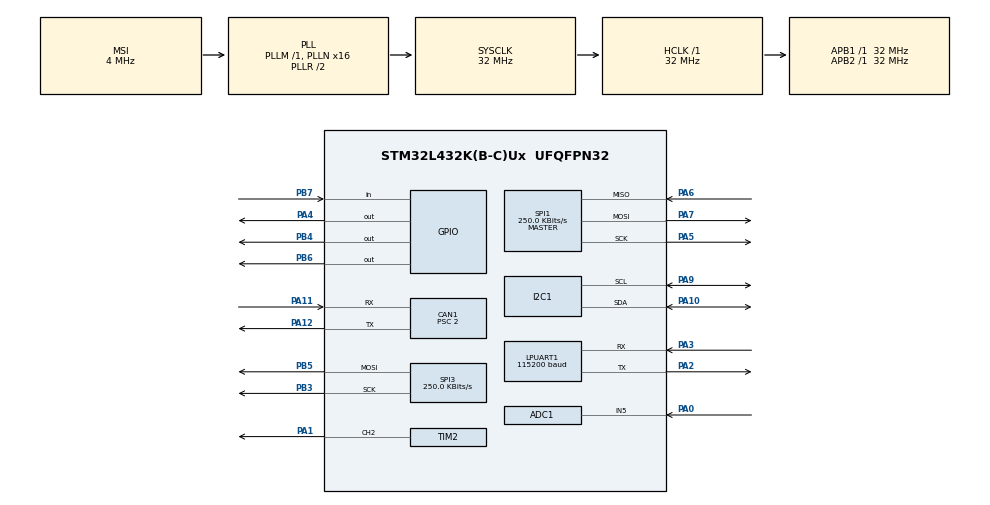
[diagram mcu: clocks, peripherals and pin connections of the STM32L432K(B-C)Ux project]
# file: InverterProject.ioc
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ADC1.Channel-1\#ChannelRegularConversion=ADC_CHANNEL_5
ADC1.NbrOfConversionFlag=1
ADC1.OffsetNumber-1\#ChannelRegularConversion=ADC_OFFSET_NONE
ADC1.Rank-1\#ChannelRegularConversion=1
ADC1.SamplingTime-1\#ChannelRegularConversion=ADC_SAMPLETIME_2CYCLES_5
ADC1.master=1
CAN1.BS1=CAN_BS1_12TQ
CAN1.BS2=CAN_BS2_3TQ
CAN1.CalculateBaudRate=1000000
CAN1.CalculateTimeBit=1000
CAN1.CalculateTimeQuantum=62.5
CAN1.Prescaler=2
FATFS._MAX_SS=4096
FATFS._USE_LFN=3
FREERTOS.Tasks01=defaultTask,0,128,StartDefaultTask,Default,NULL,Dynamic,NULL,NULL
FREERTOS.configTOTAL_HEAP_SIZE=16384
I2C1.Timing=0x00B07CB4
LPUART1.BaudRate=115200
LPUART1.WordLength=UART_WORDLENGTH_8B
Mcu.Family=STM32L4
Mcu.Name=STM32L432K(B-C)Ux
Mcu.Package=UFQFPN32
NUCLEO-L432KC.LD3=false
NVIC.CAN1_RX0_IRQn=true\:5\:0\:false\:false\:true\:true\:true\:true\:true
NVIC.PriorityGroup=NVIC_PRIORITYGROUP_4
NVIC.TIM1_UP_TIM16_IRQn=true\:15\:0\:false\:false\:true\:false\:false\:true\:true
NVIC.TimeBase=TIM1_UP_TIM16_IRQn
NVIC.TimeBaseIP=TIM1
PA0.Signal=ADCx_IN5
PA1.Signal=S_TIM2_CH2
PA10.Mode=I2C
PA10.Signal=I2C1_SDA
PA11.Mode=CAN_Activate
PA11.Signal=CAN1_RX
PA12.Mode=CAN_Activate
PA12.Signal=CAN1_TX
PA13\ (JTMS-SWDIO).GPIO_Label=SWDIO
PA13\ (JTMS-SWDIO).Signal=SYS_JTMS-SWDIO
PA14\ (JTCK-SWCLK).GPIO_Label=SWCLK
PA14\ (JTCK-SWCLK).Signal=SYS_JTCK-SWCLK
PA15\ (JTDI).GPIO_Label=VCP_RX
PA15\ (JTDI).Signal=USART2_RX
PA2.Mode=Asynchronous
PA2.Signal=LPUART1_TX
PA3.Mode=Asynchronous
PA3.Signal=LPUART1_RX
PA4.Signal=GPIO_Output
PA5.Mode=Full_Duplex_Master
PA5.Signal=SPI1_SCK
PA6.Mode=Full_Duplex_Master
PA6.Signal=SPI1_MISO
PA7.Mode=Full_Duplex_Master
PA7.Signal=SPI1_MOSI
PA9.Mode=I2C
PA9.Signal=I2C1_SCL
PB3\ (JTDO-TRACESWO).Mode=TX_Only_Simplex_Unidirect_Master
PB3\ (JTDO-TRACESWO).Signal=SPI3_SCK
PB4\ (NJTRST).Signal=GPIO_Output
PB5.Mode=TX_Only_Simplex_Unidirect_Master
PB5.Signal=SPI3_MOSI
PB6.Signal=GPIO_Output
PB7.Signal=GPIO_Input
PC14-OSC32_IN\ (PC14).Signal=RCC_OSC32_IN
PC15-OSC32_OUT\ (PC15).Signal=RCC_OSC32_OUT
ProjectManager.HeapSize=0x200
ProjectManager.StackSize=0x400
ProjectManager.TargetToolchain=Makefile
RCC.ADCFreq_Value=32000000
RCC.AHBFreq_Value=32000000
RCC.APB1Freq_Value=32000000
RCC.APB1TimFreq_Value=32000000
RCC.APB2Freq_Value=32000000
RCC.APB2TimFreq_Value=32000000
RCC.CortexFreq_Value=32000000
RCC.HCLKFreq_Value=32000000
RCC.HSE_VALUE=8000000
RCC.HSI16_VALUE=16000000
RCC.HSI48_VALUE=48000000
RCC.HSI_VALUE=16000000
RCC.LSE_VALUE=32768
RCC.MSI_VALUE=4000000
RCC.PLLMUL=RCC_PLLMUL_4
RCC.PLLN=16
RCC.PLLSAI1N=16
RCC.SYSCLKFreq_VALUE=32000000
RCC.SYSCLKSource=RCC_SYSCLKSOURCE_PLLCLK
RCC.USBFreq_Value=32000000
RCC.VCOOutputFreq_Value=64000000
SH.ADCx_IN5.0=ADC1_IN5,IN5-Single-Ended
SH.S_TIM2_CH2.0=TIM2_CH2,PWM Generation2 CH2
SPI1.BaudRatePrescaler=SPI_BAUDRATEPRESCALER_128
SPI1.CalculateBaudRate=250.0 KBits/s
SPI1.DataSize=SPI_DATASIZE_8BIT
SPI1.Direction=SPI_DIRECTION_2LINES
SPI1.Mode=SPI_MODE_MASTER
SPI1.VirtualType=VM_MASTER
SPI3.BaudRatePrescaler=SPI_BAUDRATEPRESCALER_128
SPI3.CLKPhase=SPI_PHASE_2EDGE
SPI3.CLKPolarity=SPI_POLARITY_HIGH
SPI3.CalculateBaudRate=250.0 KBits/s
SPI3.DataSize=SPI_DATASIZE_8BIT
SPI3.Direction=SPI_DIRECTION_2LINES
SPI3.Mode=SPI_MODE_MASTER
SPI3.VirtualType=VM_MASTER
TIM2.Channel-PWM\ Generation2\ CH2=TIM_CHANNEL_2
VP_FATFS_VS_Generic.Mode=User_defined
VP_FREERTOS_VS_CMSIS_V1.Mode=CMSIS_V1
VP_NUCLEO-L432KC_VS_BSP_COMMON.Mode=COMMON
VP_SYS_VS_tim1.Mode=TIM1
board=NUCLEO-L432KC

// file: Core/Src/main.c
/* USER CODE BEGIN Header */
/**
  ******************************************************************************
  * @file           : main.c
  * @brief          : Main program body
  ******************************************************************************
  * @attention
  *
  * Copyright (c) 2026 STMicroelectronics.
  * All rights reserved.
  *
  * This software is licensed under terms that can be found in the LICENSE file
  * in the root directory of this software component.
  * If no LICENSE file comes with this software, it is provided AS-IS.
  *
  ******************************************************************************
  */
/* USER CODE END Header */
#include "main.h"
#include "cmsis_os.h"
#include "fatfs.h"

/* USER CODE BEGIN Includes */
#include <stdio.h>
#include <string.h>
#include "FATFS_SD.h"
#include "LCD.h"
#include "CAN.h"
#include "stdio.h"
#include "FreeRTOS.h"
#include "queue.h"

/* USER CODE END Includes */

ADC_HandleTypeDef hadc1;

CAN_HandleTypeDef hcan1;

I2C_HandleTypeDef hi2c1;

UART_HandleTypeDef hlpuart1;

SPI_HandleTypeDef hspi1;
SPI_HandleTypeDef hspi3;

TIM_HandleTypeDef htim2;

osThreadId defaultTaskHandle;

void SystemClock_Config(void);
static void MX_GPIO_Init(void);
static void MX_CAN1_Init(void);
static void MX_SPI1_Init(void);
static void MX_ADC1_Init(void);
static void MX_LPUART1_UART_Init(void);
static void MX_TIM2_Init(void);
static void MX_SPI3_Init(void);
static void MX_I2C1_Init(void);
void StartDefaultTask(void const * argument);

/* USER CODE BEGIN PFP */

static void SD_Card_Test(void);
extern volatile uint16_t Timer1, Timer2;

uint8_t Buffer[25] = {0};
uint8_t Space[] = " - ";
uint8_t StartMSG[] = "Starting I2C Scanning: \r\n";
uint8_t EndMSG[] = "Done! \r\n\r\n";

/* USER CODE END PFP */

/* USER CODE BEGIN 0 */

TaskHandle_t StartSdTask = NULL;
TaskHandle_t LCD_Task = NULL;
TaskHandle_t ThrottleCanTask = NULL;
static QueueHandle_t canDisplayQueue = NULL;
static QueueHandle_t canLogQueue = NULL;

static void vLCD_Task(void *pvParameters)
{
  (void)pvParameters;
  static LCD_Handle lcd;
  CAN_Message message;

  LCD_Init(&lcd, &hspi3, GPIOB, GPIO_PIN_4, GPIOB, GPIO_PIN_6);
  LCD_DisplaySpeed(&lcd, 0.0f, false);

  for (;;)
  {
    if (xQueueReceive(canDisplayQueue, &message, portMAX_DELAY) == pdPASS)
    {
      uint64_t rawData = CAN_Message_ToU64(&message);
      bool hasFix = extract_bits(rawData, 0, 1) != 0;
      float speedMph = (float)decode_physical_value(
          rawData, 1, 20, 0, SPEED_SCALE);
      LCD_DisplaySpeed(&lcd, speedMph, hasFix);
    }
  }
}

static void vCAN_RxTask(void *pvParameters)
{
  (void)pvParameters;
  CAN_Comm_SetRxTask(xTaskGetCurrentTaskHandle());
  //printf("CAN RX task started\r\n");
  for (;;)
  {
    //printf("Starting CAN RX task!\n");
    CAN_Message message;
    while (CAN_Comm_Pop(&message))
    {
      /* Keep the receiver draining promptly; the LCD only needs GPS speed. */
      //printf("CAN RX PARSING MESSAGE\n");
      if (!message.is_extended && message.id == 0x007u && message.dlc >= 3)
      {
        xQueueOverwrite(canDisplayQueue, &message);
      }
      handle_message(&message);
      /* The raw CAN_Message is also the record to pass to a future SD logger. */
    }

    ulTaskNotifyTake(pdTRUE, portMAX_DELAY);
  }
}

static void vThrottleCanTask(void *pvParameters)
{
  (void)pvParameters;
  printf("Throttle CAN task started\r\n");

  for (;;)
  {
    printf("Throttle CAN task running\r\n");
    uint8_t throttle_percent;
    HAL_StatusTypeDef status =
        Read_ADC_Throttle_Percent(&hadc1, &throttle_percent);
        printf("Throttle ADC read: %u%%\r\n", throttle_percent);
    if (status == HAL_OK)
    {
      status = CAN_Comm_Send(&hcan1, THROTTLE_CAN_ID, false,
                             &throttle_percent, 1);
      printf("Throttle CAN task sent: %u%%\r\n", throttle_percent);
    }

    if (status != HAL_OK)
    {
      printf("Throttle CAN task failed: %d\r\n", (int)status);
    }

    vTaskDelay(pdMS_TO_TICKS(THROTTLE_CAN_PERIOD_MS));
  }
}
TaskHandle_t CAN_Task_Handle = NULL;

// void vStartSdTask(void *pvparameters)
// {
//   printf("SD task started\r\n");

//   SD_Card_Test();          /* one-shot test for now */
//     // printf("SD task high water mark: %lu\r\n", uxTaskGetStackHighWaterMark(NULL));

//   for (;;)
//   {
//     osDelay(1000);         /* idle once the test is done */
//   }
// }

// void vLCD_Task(void *pvparameters)
// {
//   printf("LCD task started\r\n");
//   // LCD_Handle lcd;
//   // LCD_Init(&lcd, &hspi3, GPIOB, GPIO_PIN_4, GPIOB, GPIO_PIN_6);
//   // LCD_Clear(&lcd);
//   // osDelay(100);
//   // LCD_Clear(&lcd);
//   // LCD_PrintStrAt(&lcd, 0,0, "Hello FREDDY :)1");
//   printf("LCD WRITES\r\n");
//   // osDelay(500);
//   // LCD_PrintStrAt(&lcd,0,2, "speed:");
//   // I2C_LCD_Init();
//   // // I2C_LCD_CreateCustomChar(MyI2C_LCD, 0, HeartChar);
//   // // I2C_LCD_CreateCustomChar(MyI2C_LCD, 1, SmileyFaceChar);
//   // I2C_LCD_SetCursor( 0, 0);
//   // I2C_LCD_WriteString( "Hello world");
//   // I2C_LCD_SetCursor( 0, 1);
//   // I2C_LCD_WriteString( "I2C LCD ");
//   // I2C_LCD_PrintCustomChar(MyI2C_LCD, 1);
//   // I2C_LCD_PrintCustomChar(MyI2C_LCD, 0);
//   I2C_LCD_Init(MyI2C_LCD);
//   I2C_LCD_SetCursor(MyI2C_LCD, 0, 0);
//   I2C_LCD_WriteString(MyI2C_LCD, "DeepBlueMbedded");
//   I2C_LCD_SetCursor(MyI2C_LCD, 0, 1);
//   I2C_LCD_WriteString(MyI2C_LCD, "I2C LCD ");

//     printf("LCD WRITES\r\n");

//   vTaskDelete(NULL);
// }

static TaskHandle_t canRxHandle = NULL;
static TaskHandle_t throttleTxHandle = NULL;

#define SD_LOG_SYNC_ROWS 16U
#define SD_LOG_SYNC_INTERVAL_MS 1000U

static void vSdLoggerTask(void *pvParameters)
{
  (void)pvParameters;
  static FIL logFile;
  char logPath[sizeof(USERPath) + sizeof("CANLOG.CSV")];
  char row[CAN_LOG_ROW_SIZE + 2];
  FRESULT result;
  int pathLength;

  pathLength = snprintf(logPath, sizeof(logPath), "%sCANLOG.CSV", USERPath);
  if (pathLength < 0 || pathLength >= (int)sizeof(logPath))
  {
    printf("SD logger: CSV path is too long\r\n");
    vTaskDelete(NULL);
    return;
  }

  for (;;)
  {
    result = f_mount(&USERFatFS, USERPath, 1);
    if (result == FR_OK)
    {
      printf("SD logger: card mounted\r\n");
      break;
    }

    printf("SD logger: mount failed (%d), retrying\r\n", (int)result);
    vTaskDelay(pdMS_TO_TICKS(1000));
  }

  for (;;)
  {
    result = f_open(&logFile, logPath, FA_OPEN_APPEND | FA_WRITE);
    if (result == FR_OK)
    {
      break;
    }

    printf("SD logger: opening %s failed (%d), retrying\r\n",
           logPath, (int)result);
    vTaskDelay(pdMS_TO_TICKS(1000));
  }

  if (f_size(&logFile) == 0)
  {
    const char header[] = CAN_LOG_CSV_HEADER;
    UINT bytesWritten = 0;
    result = f_write(&logFile, header, sizeof(header) - 1, &bytesWritten);
    if (result != FR_OK || bytesWritten != sizeof(header) - 1)
    {
      printf("SD logger: writing CSV header failed (%d, %u bytes)\r\n",
             (int)result, (unsigned)bytesWritten);
      f_close(&logFile);
      vTaskDelete(NULL);
      return;
    }

    result = f_sync(&logFile);
    if (result != FR_OK)
    {
      printf("SD logger: syncing CSV header failed (%d)\r\n", (int)result);
      f_close(&logFile);
      vTaskDelete(NULL);
      return;
    }
  }

  uint32_t rowsSinceSync = 0;
  TickType_t lastSync = xTaskGetTickCount();

  for (;;)
  {
    if (CAN_Comm_ReadLogRow(row, pdMS_TO_TICKS(100)))
    {
      size_t rowLength = strlen(row);
      row[rowLength] = '\r';
      row[rowLength + 1] = '\n';
      UINT writeLength = (UINT)(rowLength + 2);
      UINT bytesWritten = 0;
      result = f_write(&logFile, row, writeLength, &bytesWritten);
      if (result != FR_OK || bytesWritten != writeLength)
      {
        printf("SD logger: writing CSV row failed (%d, %u/%u bytes)\r\n",
               (int)result, (unsigned)bytesWritten, (unsigned)writeLength);
        f_close(&logFile);
        vTaskDelete(NULL);
        return;
      }

      rowsSinceSync++;
    }

    TickType_t now = xTaskGetTickCount();
    if (rowsSinceSync >= SD_LOG_SYNC_ROWS ||
        (rowsSinceSync > 0 &&
         now - lastSync >= pdMS_TO_TICKS(SD_LOG_SYNC_INTERVAL_MS)))
    {
      result = f_sync(&logFile);
      if (result != FR_OK)
      {
        printf("SD logger: syncing CSV failed (%d)\r\n", (int)result);
        f_close(&logFile);
        vTaskDelete(NULL);
        return;
      }

      rowsSinceSync = 0;
      lastSync = now;
    }
  }
}

static void PrintCanFrame(const CAN_Message *msg)
{
    printf("RX %c ID=0x%0*lX DLC=%u DATA=",
           msg->is_extended ? 'E' : 'S',
           msg->is_extended ? 8 : 3,
           (unsigned long)msg->id, (unsigned)msg->dlc);

    for (uint8_t i = 0; i < msg->dlc; i++)
    {
        printf("%02X%s", (unsigned)msg->data[i],
               (i + 1u < msg->dlc) ? " " : "");
    }

    printf("\r\n");
}

static void CanRxTask(void *arg)
{
  printf("CAN RX task started\n");
    (void)arg;
    CAN_Message msg;
    for (;;)
    {
        printf("RX handling message\n");
        ulTaskNotifyTake(pdTRUE, portMAX_DELAY);   /* sleep until ISR wakes us */

        while (CAN_Comm_Pop(&msg))
        {
            PrintCanFrame(&msg);  /* Temporary raw-frame diagnostic */
            handle_message(&msg);
        }
    }
}

static void SD_Card_Test(void)
{
  printf("\r\n------------------[ SD Card Test ]--------------------\r\n");
  static FATFS FatFs;
  static FIL Fil;
  FRESULT FR_Status;
  FATFS *FS_Ptr;
  UINT RWC, WWC; // Read/Write Word Counter
  DWORD FreeClusters;
  uint32_t TotalSize, FreeSpace;
  char RW_Buffer[200];
    printf("0BEFORE DO LOOP \r\n");

  do
  {
    printf("INSIDE DO LOOP..\r\n");
    //------------------[ Mount The SD Card ]--------------------
    FR_Status = f_mount(&FatFs, "", 1);
    if (FR_Status != FR_OK)
    {
      printf("1Error! While Mounting SD Card, Error Code: (%i)\r\n", FR_Status);

      break;
    }
    printf("SD Card Mounted Successfully! \r\n\n");

    //------------------[ Get & Print The SD Card Size & Free Space ]--------------------
    f_getfree("", &FreeClusters, &FS_Ptr);
    TotalSize = (uint32_t)((FS_Ptr->n_fatent - 2) * FS_Ptr->csize * 0.5);
    FreeSpace = (uint32_t)(FreeClusters * FS_Ptr->csize * 0.5);
    printf("1Total SD Card Size: %lu Bytes\r\n", TotalSize);
    printf("1Free SD Card Space: %lu Bytes\r\n\n", FreeSpace);
    //------------------[ Open A Text File For Write & Write Data ]--------------------
    //Open the file
    FR_Status = f_open(&Fil, "TextFileWrite1.txt", FA_WRITE | FA_READ | FA_CREATE_ALWAYS);
    if(FR_Status != FR_OK)
    {

      printf("1Error! While Creating/Opening A New Text File, Error Code: (%i)\r\n", FR_Status);

      break;
    }
    printf("Text File Created & Opened! Writing Data To The Text File..\r\n\n");
    // (1) Write Data To The Text File [ Using f_puts() Function ]
    f_puts("1.2 Hello! From STM32 To SD Card Over SPI, Using f_puts()\n", &Fil);
    // (2) Write Data To The Text File [ Using f_write() Function ]
    strcpy(RW_Buffer, "Hello! From STM32 To SD Card Over SPI, Using f_write()\r\n");
    f_write(&Fil, RW_Buffer, strlen(RW_Buffer), &WWC);
    // Close The File
    f_close(&Fil);
    //------------------[ Open A Text File For Read & Read Its Data ]--------------------
    // Open The File
    FR_Status = f_open(&Fil, "TextFileWrite1.txt", FA_READ);
    if(FR_Status != FR_OK)
    {
      printf("1Error! While Opening (TextFileWrite.txt) File For Read.. \r\n");
      break;
    }
    // (1) Read The Text File's Data [ Using f_gets() Function ]
    f_gets(RW_Buffer, sizeof(RW_Buffer), &Fil);
    printf("1Data Read From (TextFileWrite.txt) Using f_gets():%s", RW_Buffer);
    // (2) Read The Text File's Data [ Using f_read() Function ]
    f_read(&Fil, RW_Buffer, f_size(&Fil), &RWC);

    printf("1Data Read From (TextFileWrite.txt) Using f_read():%s", RW_Buffer);

    // Close The File
    f_close(&Fil);

    printf("1File Closed! \r\n\n");

    //------------------[ Open An Existing Text File, Update Its Content, Read It Back ]--------------------
    // (1) Open The Existing File For Write (Update)
    FR_Status = f_open(&Fil, "TextFileWrite1.txt", FA_OPEN_EXISTING | FA_WRITE);
    FR_Status = f_lseek(&Fil, f_size(&Fil)); // Move The File Pointer To The EOF (End-Of-File)
    if(FR_Status != FR_OK)
    {
      printf("1Error! While Opening (TextFileWrite.txt) File For Update.. \r\n");
      break;
    }
    // (2) Write New Line of Text Data To The File
    FR_Status = f_puts("1.2 This New Line Was Added During Update!\r\n", &Fil);
    f_close(&Fil);
    memset(RW_Buffer,'\0',sizeof(RW_Buffer)); // Clear The Buffer
    // (3) Read The Contents of The Text File After The Update
    FR_Status = f_open(&Fil, "TextFileWrite1.txt", FA_READ); // Open The File For Read
    f_read(&Fil, RW_Buffer, f_size(&Fil), &RWC);
    printf("1Data Read From (TextFileWrite.txt) After Update:%s", RW_Buffer);
    f_close(&Fil);
    //------------------[ Delete The Text File ]--------------------
    // Delete The File
    /*
    FR_Status = f_unlink(TextFileWrite.txt);
    if (FR_Status != FR_OK){
        printf(TxBuffer, "Error! While Deleting The (TextFileWrite.txt) File.. \r\n");
        printf(TxBuffer);
    }
    */
  } while(0);
  //------------------[ Test Complete! Unmount The SD Card ]--------------------
  FR_Status = f_mount(NULL, "", 0);
  if (FR_Status != FR_OK)
  {
      printf("1Error! While Un-mounting SD Card, Error Code: (%i)\r\n", FR_Status);
  } else{
      printf("1SD Card Un-mounted Successfully! \r\n");
  }
}

/* USER CODE END 0 */

int main(void)
{

  /* MCU Configuration--------------------------------------------------------*/

  /* Reset of all peripherals, Initializes the Flash interface and the Systick. */
  HAL_Init();

  /* Configure the system clock */
  SystemClock_Config();

  /* Initialize all configured peripherals */
  MX_GPIO_Init();
  MX_CAN1_Init();
  MX_SPI1_Init();
  MX_FATFS_Init();
  MX_ADC1_Init();
  MX_LPUART1_UART_Init();
  MX_TIM2_Init();
  MX_SPI3_Init();
  MX_I2C1_Init();
  /* USER CODE BEGIN 2 */
  printf("HELLO THERE!\r\n");
  canLogQueue = xQueueCreate(CAN_LOG_QUEUE_LENGTH, CAN_LOG_ROW_SIZE);
  if (canLogQueue == NULL)
  {
    printf("CAN log queue creation failed, free heap = %u\r\n",
           (unsigned)xPortGetFreeHeapSize());
    Error_Handler();
  }
  CAN_Comm_SetLogQueue(canLogQueue);
  canDisplayQueue = xQueueCreate(1, sizeof(CAN_Message));
  if (canDisplayQueue == NULL)
  {
    printf("CAN display queue creation failed, free heap = %u\r\n",
           (unsigned)xPortGetFreeHeapSize());
    Error_Handler();
  }

  // LCD_PrintStrAt(&lcd,0,2, "speed:");
  // xTaskCreate(vStartSdTask, "SD", 1024, NULL, 5 , &StartSdTask);
  // BaseType_t ok = xTaskCreate(vStartSdTask, "SD", 2048, NULL, 5, &StartSdTask);  /* 2048 words = 8 KB */
  // if (ok != pdPASS)
  // {
  //   printf("SD task create failed, free heap = %u\r\n", (unsigned)xPortGetFreeHeapSize());
  //   Error_Handler();
  // }
  // BaseType_t okLCD = xTaskCreate(vLCD_Task, "LCD", 1024, NULL, 5 , &LCD_Task);
  //   if (okLCD != pdPASS)
  // {
  //   printf("LCD task create failed, free heap = %u\r\n", (unsigned)xPortGetFreeHeapSize());
  //   Error_Handler();
  // }

  // BaseType_t sdTaskStatus =
  //     xTaskCreate(vSdLoggerTask, "sdLogger", 768, NULL,
  //                 tskIDLE_PRIORITY + 1, &StartSdTask);
  // if (sdTaskStatus != pdPASS)
  // {
  //   printf("SD logger task creation failed, free heap = %u\r\n",
  //          (unsigned)xPortGetFreeHeapSize());
  //   Error_Handler();
  // }

  BaseType_t lcdTaskStatus =
      xTaskCreate(vLCD_Task, "lcd", 512, NULL,
                  tskIDLE_PRIORITY + 1, &LCD_Task);
  if (lcdTaskStatus != pdPASS)
  {
    printf("LCD task creation failed, free heap = %u\r\n",
           (unsigned)xPortGetFreeHeapSize());
    Error_Handler();
  }

  BaseType_t canRxTaskStatus =
      xTaskCreate(vCAN_RxTask, "canrx", 1028, NULL,
                  tskIDLE_PRIORITY + 3, &canRxHandle);
  if (canRxTaskStatus != pdPASS)
  {
    printf("CAN RX task creation failed, free heap = %u\r\n",
           (unsigned)xPortGetFreeHeapSize());
    Error_Handler();
  }
  CAN_Comm_SetRxTask(canRxHandle);

    if (CAN_Comm_Init(&hcan1) != HAL_OK)
        Error_Handler();
    // BaseType_t throttleTaskStatus =
    //     xTaskCreate(vThrottleCanTask, "throttleTX", 1024, NULL,
    //                 tskIDLE_PRIORITY + 2, &throttleTxHandle);
    // if (throttleTaskStatus != pdPASS)
    // {
    //   printf("Throttle CAN task creation failed, free heap = %u\r\n",
    //          (unsigned)xPortGetFreeHeapSize());
    //   Error_Handler();
    // }

  /* USER CODE END 2 */

  /* Create the thread(s) */
  /* definition and creation of defaultTask */
  osThreadDef(defaultTask, StartDefaultTask, osPriorityNormal, 0, 128);
  defaultTaskHandle = osThreadCreate(osThread(defaultTask), NULL);

  /* USER CODE BEGIN RTOS_THREADS */

  // // /* add threads, ... */
  /* USER CODE END RTOS_THREADS */

  /* Start scheduler */
  osKernelStart();

  /* We should never get here as control is now taken by the scheduler */

  /* Infinite loop */
  while (1)
  {

  }
}

void SystemClock_Config(void)
{
  RCC_OscInitTypeDef RCC_OscInitStruct = {0};
  RCC_ClkInitTypeDef RCC_ClkInitStruct = {0};

  /** Configure the main internal regulator output voltage
  */
  if (HAL_PWREx_ControlVoltageScaling(PWR_REGULATOR_VOLTAGE_SCALE1) != HAL_OK)
  {
    Error_Handler();
  }

  /** Initializes the RCC Oscillators according to the specified parameters
  * in the RCC_OscInitTypeDef structure.
  */
  RCC_OscInitStruct.OscillatorType = RCC_OSCILLATORTYPE_MSI;
  RCC_OscInitStruct.MSIState = RCC_MSI_ON;
  RCC_OscInitStruct.MSICalibrationValue = 0;
  RCC_OscInitStruct.MSIClockRange = RCC_MSIRANGE_6;
  RCC_OscInitStruct.PLL.PLLState = RCC_PLL_ON;
  RCC_OscInitStruct.PLL.PLLSource = RCC_PLLSOURCE_MSI;
  RCC_OscInitStruct.PLL.PLLM = 1;
  RCC_OscInitStruct.PLL.PLLN = 16;
  RCC_OscInitStruct.PLL.PLLP = RCC_PLLP_DIV7;
  RCC_OscInitStruct.PLL.PLLQ = RCC_PLLQ_DIV2;
  RCC_OscInitStruct.PLL.PLLR = RCC_PLLR_DIV2;
  if (HAL_RCC_OscConfig(&RCC_OscInitStruct) != HAL_OK)
  {
    Error_Handler();
  }

  /** Initializes the CPU, AHB and APB buses clocks
  */
  RCC_ClkInitStruct.ClockType = RCC_CLOCKTYPE_HCLK|RCC_CLOCKTYPE_SYSCLK
                              |RCC_CLOCKTYPE_PCLK1|RCC_CLOCKTYPE_PCLK2;
  RCC_ClkInitStruct.SYSCLKSource = RCC_SYSCLKSOURCE_PLLCLK;
  RCC_ClkInitStruct.AHBCLKDivider = RCC_SYSCLK_DIV1;
  RCC_ClkInitStruct.APB1CLKDivider = RCC_HCLK_DIV1;
  RCC_ClkInitStruct.APB2CLKDivider = RCC_HCLK_DIV1;

  if (HAL_RCC_ClockConfig(&RCC_ClkInitStruct, FLASH_LATENCY_1) != HAL_OK)
  {
    Error_Handler();
  }
}

static void MX_ADC1_Init(void)
{

  ADC_ChannelConfTypeDef sConfig = {0};

  /** Common config
  */
  hadc1.Instance = ADC1;
  hadc1.Init.ClockPrescaler = ADC_CLOCK_ASYNC_DIV1;
  hadc1.Init.Resolution = ADC_RESOLUTION_12B;
  hadc1.Init.DataAlign = ADC_DATAALIGN_RIGHT;
  hadc1.Init.ScanConvMode = ADC_SCAN_DISABLE;
  hadc1.Init.EOCSelection = ADC_EOC_SINGLE_CONV;
  hadc1.Init.LowPowerAutoWait = DISABLE;
  hadc1.Init.ContinuousConvMode = DISABLE;
  hadc1.Init.NbrOfConversion = 1;
  hadc1.Init.DiscontinuousConvMode = DISABLE;
  hadc1.Init.ExternalTrigConv = ADC_SOFTWARE_START;
  hadc1.Init.ExternalTrigConvEdge = ADC_EXTERNALTRIGCONVEDGE_NONE;
  hadc1.Init.DMAContinuousRequests = DISABLE;
  hadc1.Init.Overrun = ADC_OVR_DATA_PRESERVED;
  hadc1.Init.OversamplingMode = DISABLE;
  if (HAL_ADC_Init(&hadc1) != HAL_OK)
  {
    Error_Handler();
  }

  /** Configure Regular Channel
  */
  sConfig.Channel = ADC_CHANNEL_5;
  sConfig.Rank = ADC_REGULAR_RANK_1;
  sConfig.SamplingTime = ADC_SAMPLETIME_2CYCLES_5;
  sConfig.SingleDiff = ADC_SINGLE_ENDED;
  sConfig.OffsetNumber = ADC_OFFSET_NONE;
  sConfig.Offset = 0;
  if (HAL_ADC_ConfigChannel(&hadc1, &sConfig) != HAL_OK)
  {
    Error_Handler();
  }

}

static void MX_CAN1_Init(void)
{

  hcan1.Instance = CAN1;
  hcan1.Init.Prescaler = 2;
  hcan1.Init.Mode = CAN_MODE_NORMAL;
  hcan1.Init.SyncJumpWidth = CAN_SJW_1TQ;
  hcan1.Init.TimeSeg1 = CAN_BS1_12TQ;
  hcan1.Init.TimeSeg2 = CAN_BS2_3TQ;
  hcan1.Init.TimeTriggeredMode = DISABLE;
  hcan1.Init.AutoBusOff = DISABLE;
  hcan1.Init.AutoWakeUp = DISABLE;
  hcan1.Init.AutoRetransmission = DISABLE;
  hcan1.Init.ReceiveFifoLocked = DISABLE;
  hcan1.Init.TransmitFifoPriority = DISABLE;
  if (HAL_CAN_Init(&hcan1) != HAL_OK)
  {
    Error_Handler();
  }

}

static void MX_I2C1_Init(void)
{

  hi2c1.Instance = I2C1;
  hi2c1.Init.Timing = 0x00B07CB4;
  hi2c1.Init.OwnAddress1 = 0;
  hi2c1.Init.AddressingMode = I2C_ADDRESSINGMODE_7BIT;
  hi2c1.Init.DualAddressMode = I2C_DUALADDRESS_DISABLE;
  hi2c1.Init.OwnAddress2 = 0;
  hi2c1.Init.OwnAddress2Masks = I2C_OA2_NOMASK;
  hi2c1.Init.GeneralCallMode = I2C_GENERALCALL_DISABLE;
  hi2c1.Init.NoStretchMode = I2C_NOSTRETCH_DISABLE;
  if (HAL_I2C_Init(&hi2c1) != HAL_OK)
  {
    Error_Handler();
  }

  /** Configure Analogue filter
  */
  if (HAL_I2CEx_ConfigAnalogFilter(&hi2c1, I2C_ANALOGFILTER_ENABLE) != HAL_OK)
  {
    Error_Handler();
  }

  /** Configure Digital filter
  */
  if (HAL_I2CEx_ConfigDigitalFilter(&hi2c1, 0) != HAL_OK)
  {
    Error_Handler();
  }

}

static void MX_LPUART1_UART_Init(void)
{

  hlpuart1.Instance = LPUART1;
  hlpuart1.Init.BaudRate = 115200;
  hlpuart1.Init.WordLength = UART_WORDLENGTH_8B;
  hlpuart1.Init.StopBits = UART_STOPBITS_1;
  hlpuart1.Init.Parity = UART_PARITY_NONE;
  hlpuart1.Init.Mode = UART_MODE_TX_RX;
  hlpuart1.Init.HwFlowCtl = UART_HWCONTROL_NONE;
  hlpuart1.Init.OneBitSampling = UART_ONE_BIT_SAMPLE_DISABLE;
  hlpuart1.AdvancedInit.AdvFeatureInit = UART_ADVFEATURE_NO_INIT;
  if (HAL_UART_Init(&hlpuart1) != HAL_OK)
  {
    Error_Handler();
  }

}

static void MX_SPI1_Init(void)
{

  /* SPI1 parameter configuration*/
  hspi1.Instance = SPI1;
  hspi1.Init.Mode = SPI_MODE_MASTER;
  hspi1.Init.Direction = SPI_DIRECTION_2LINES;
  hspi1.Init.DataSize = SPI_DATASIZE_8BIT;
  hspi1.Init.CLKPolarity = SPI_POLARITY_LOW;
  hspi1.Init.CLKPhase = SPI_PHASE_1EDGE;
  hspi1.Init.NSS = SPI_NSS_SOFT;
  hspi1.Init.BaudRatePrescaler = SPI_BAUDRATEPRESCALER_128;
  hspi1.Init.FirstBit = SPI_FIRSTBIT_MSB;
  hspi1.Init.TIMode = SPI_TIMODE_DISABLE;
  hspi1.Init.CRCCalculation = SPI_CRCCALCULATION_DISABLE;
  hspi1.Init.CRCPolynomial = 7;
  hspi1.Init.CRCLength = SPI_CRC_LENGTH_DATASIZE;
  hspi1.Init.NSSPMode = SPI_NSS_PULSE_ENABLE;
  if (HAL_SPI_Init(&hspi1) != HAL_OK)
  {
    Error_Handler();
  }

}

static void MX_SPI3_Init(void)
{

  /* SPI3 parameter configuration*/
  hspi3.Instance = SPI3;
  hspi3.Init.Mode = SPI_MODE_MASTER;
  hspi3.Init.Direction = SPI_DIRECTION_2LINES;
  hspi3.Init.DataSize = SPI_DATASIZE_8BIT;
  hspi3.Init.CLKPolarity = SPI_POLARITY_HIGH;
  hspi3.Init.CLKPhase = SPI_PHASE_2EDGE;
  hspi3.Init.NSS = SPI_NSS_SOFT;
  hspi3.Init.BaudRatePrescaler = SPI_BAUDRATEPRESCALER_128;
  hspi3.Init.FirstBit = SPI_FIRSTBIT_MSB;
  hspi3.Init.TIMode = SPI_TIMODE_DISABLE;
  hspi3.Init.CRCCalculation = SPI_CRCCALCULATION_DISABLE;
  hspi3.Init.CRCPolynomial = 7;
  hspi3.Init.CRCLength = SPI_CRC_LENGTH_DATASIZE;
  hspi3.Init.NSSPMode = SPI_NSS_PULSE_DISABLE;
  if (HAL_SPI_Init(&hspi3) != HAL_OK)
  {
    Error_Handler();
  }

}

static void MX_TIM2_Init(void)
{

  TIM_MasterConfigTypeDef sMasterConfig = {0};
  TIM_OC_InitTypeDef sConfigOC = {0};

  htim2.Instance = TIM2;
  htim2.Init.Prescaler = 0;
  htim2.Init.CounterMode = TIM_COUNTERMODE_UP;
  htim2.Init.Period = 4294967295;
  htim2.Init.ClockDivision = TIM_CLOCKDIVISION_DIV1;
  htim2.Init.AutoReloadPreload = TIM_AUTORELOAD_PRELOAD_DISABLE;
  if (HAL_TIM_PWM_Init(&htim2) != HAL_OK)
  {
    Error_Handler();
  }
  sMasterConfig.MasterOutputTrigger = TIM_TRGO_RESET;
  sMasterConfig.MasterSlaveMode = TIM_MASTERSLAVEMODE_DISABLE;
  if (HAL_TIMEx_MasterConfigSynchronization(&htim2, &sMasterConfig) != HAL_OK)
  {
    Error_Handler();
  }
  sConfigOC.OCMode = TIM_OCMODE_PWM1;
  sConfigOC.Pulse = 0;
  sConfigOC.OCPolarity = TIM_OCPOLARITY_HIGH;
  sConfigOC.OCFastMode = TIM_OCFAST_DISABLE;
  if (HAL_TIM_PWM_ConfigChannel(&htim2, &sConfigOC, TIM_CHANNEL_2) != HAL_OK)
  {
    Error_Handler();
  }
  HAL_TIM_MspPostInit(&htim2);

}

static void MX_GPIO_Init(void)
{
  GPIO_InitTypeDef GPIO_InitStruct = {0};

  /* GPIO Ports Clock Enable */
  __HAL_RCC_GPIOC_CLK_ENABLE();
  __HAL_RCC_GPIOA_CLK_ENABLE();
  __HAL_RCC_GPIOB_CLK_ENABLE();

  /*Configure GPIO pin Output Level */
  HAL_GPIO_WritePin(GPIOA, GPIO_PIN_4, GPIO_PIN_RESET);

  /*Configure GPIO pin Output Level */
  HAL_GPIO_WritePin(GPIOB, GPIO_PIN_4|GPIO_PIN_6, GPIO_PIN_RESET);

  /*Configure GPIO pin : PA4 */
  GPIO_InitStruct.Pin = GPIO_PIN_4;
  GPIO_InitStruct.Mode = GPIO_MODE_OUTPUT_PP;
  GPIO_InitStruct.Pull = GPIO_NOPULL;
  GPIO_InitStruct.Speed = GPIO_SPEED_FREQ_LOW;
  HAL_GPIO_Init(GPIOA, &GPIO_InitStruct);

  /*Configure GPIO pin : VCP_RX_Pin */
  GPIO_InitStruct.Pin = VCP_RX_Pin;
  GPIO_InitStruct.Mode = GPIO_MODE_AF_PP;
  GPIO_InitStruct.Pull = GPIO_NOPULL;
  GPIO_InitStruct.Speed = GPIO_SPEED_FREQ_VERY_HIGH;
  GPIO_InitStruct.Alternate = GPIO_AF3_USART2;
  HAL_GPIO_Init(VCP_RX_GPIO_Port, &GPIO_InitStruct);

  /*Configure GPIO pins : PB4 PB6 */
  GPIO_InitStruct.Pin = GPIO_PIN_4|GPIO_PIN_6;
  GPIO_InitStruct.Mode = GPIO_MODE_OUTPUT_PP;
  GPIO_InitStruct.Pull = GPIO_NOPULL;
  GPIO_InitStruct.Speed = GPIO_SPEED_FREQ_LOW;
  HAL_GPIO_Init(GPIOB, &GPIO_InitStruct);

  /*Configure GPIO pin : PB7 */
  GPIO_InitStruct.Pin = GPIO_PIN_7;
  GPIO_InitStruct.Mode = GPIO_MODE_INPUT;
  GPIO_InitStruct.Pull = GPIO_NOPULL;
  HAL_GPIO_Init(GPIOB, &GPIO_InitStruct);

}

/* USER CODE BEGIN 4 */
#ifdef __GNUC__
#define PUTCHAR_PROTOTYPE int __io_putchar(int ch)
#else
  #define PUTCHAR_PROTOTYPE int fputc(int ch, FILE *f)
#endif /* __GNUC__ */
PUTCHAR_PROTOTYPE
{
  HAL_UART_Transmit(&hlpuart1, (uint8_t *)&ch, 1, 0xFFFF);
  return ch;
}

/* USER CODE END 4 */

void StartDefaultTask(void const * argument)
{
  for(;;)
  {
    osDelay(1);
  }
}

void HAL_TIM_PeriodElapsedCallback(TIM_HandleTypeDef *htim)
{
  if (htim->Instance == TIM1)
  {
    HAL_IncTick();
  }
  /* USER CODE BEGIN Callback 1 */
    if (Timer1 > 0) Timer1--;
    if (Timer2 > 0) Timer2--;

  /* USER CODE END Callback 1 */
}

void Error_Handler(void)
{
  __disable_irq();
  while (1)
  {
  }
}
